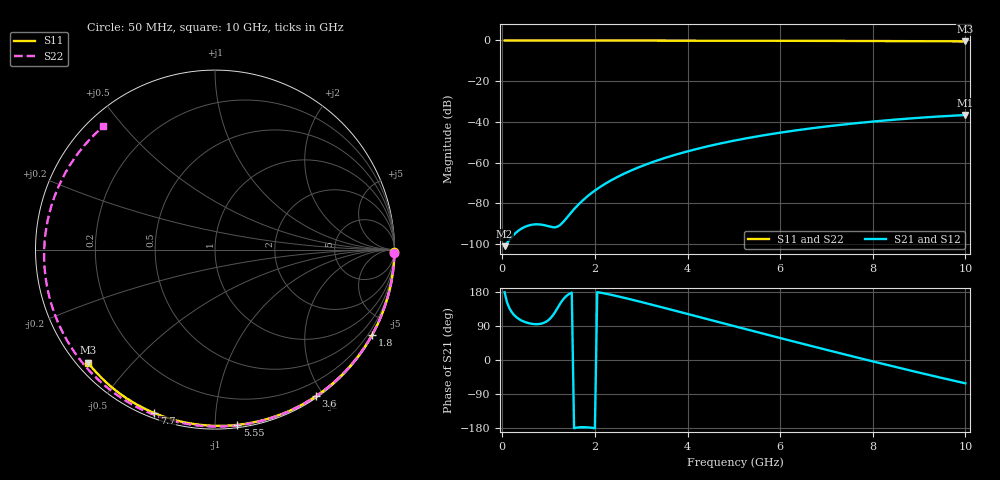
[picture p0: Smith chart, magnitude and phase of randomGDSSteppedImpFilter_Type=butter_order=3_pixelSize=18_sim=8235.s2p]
! freq	dB(S11)	phase(S11)	dB(S12)	phase(S12)
!  dB(S21)	phase(S21)	dB(S22)	phase(S22)
!S-par simulation data
#  GHz  S  DB  R 50
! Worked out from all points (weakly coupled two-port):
!   200 points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, 50 MHz to 10 GHz, reference 50 ohm
!   highest |S21| = -36.65 dB at 10 GHz (marker M1); lowest = -101.1 dB at 50 MHz (marker M2)
!   lowest |S11| = -0.5 dB at 10 GHz (marker M3), VSWR 36.91, Z = 1.55 - j19 ohm
!   |S11| at or under -10 dB: nowhere
!   |S22| runs from -0.7 to 0.0 dB; largest |S21 - S12| = 0
!   S11 on the Smith chart (normalised r, x): 50 MHz: open; 1.8 GHz: 0.03, -3.95; 3.6 GHz: 0.02, -1.90; 5.55 GHz: 0.02, -1.14; 7.7 GHz: 0.02, -0.69; 10 GHz: 0.03, -0.38
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0.05  -0.00 -0.8  -101.09 178.8  -101.09 178.8  -0.00 -1.2
0.8  -0.01 -12.7  -90.39 95.0  -90.39 95.0  -0.02 -19.4
1.65  -0.03 -26.1  -80.50 -177.7  -80.50 -177.7  -0.05 -39.6
1.75  -0.04 -27.6  -78.33 -177.2  -78.33 -177.2  -0.05 -42.0
1.8  -0.04 -28.4  -77.33 -177.4  -77.33 -177.4  -0.05 -43.1
2.1  -0.04 -33.0  -72.18 178.1  -72.18 178.1  -0.06 -50.1
2.45  -0.05 -38.3  -67.51 169.3  -67.51 169.3  -0.07 -58.1
2.9  -0.06 -45.1  -62.76 156.1  -62.76 156.1  -0.09 -68.2
3.4  -0.07 -52.5  -58.56 140.6  -58.56 140.6  -0.11 -79.3
3.6  -0.07 -55.4  -57.11 134.3  -57.11 134.3  -0.11 -83.7
4.3  -0.09 -65.5  -52.75 112.0  -52.75 112.0  -0.14 -98.7
5.05  -0.12 -75.9  -49.04 88.0  -49.04 88.0  -0.18 -114.4
5.55  -0.14 -82.7  -46.96 72.1  -46.96 72.1  -0.21 -124.8
6.15  -0.16 -90.6  -44.81 53.2  -44.81 53.2  -0.25 -137.3
6.7  -0.19 -97.8  -43.10 36.1  -43.10 36.1  -0.29 -148.8
7.2  -0.22 -104.1  -41.73 20.7  -41.73 20.7  -0.34 -159.5
7.7  -0.25 -110.4  -40.52 5.4  -40.52 5.4  -0.39 -170.5
8.35  -0.30 -118.4  -39.15 -14.1  -39.15 -14.1  -0.46 174.7
8.8  -0.34 -123.9  -38.34 -27.5  -38.34 -27.5  -0.51 163.8
9.2  -0.38 -128.7  -37.70 -39.1  -37.70 -39.1  -0.56 153.8
9.6  -0.42 -133.5  -37.13 -50.5  -37.13 -50.5  -0.61 143.2
10  -0.47 -138.4  -36.65 -61.5  -36.65 -61.5  -0.66 132.2
